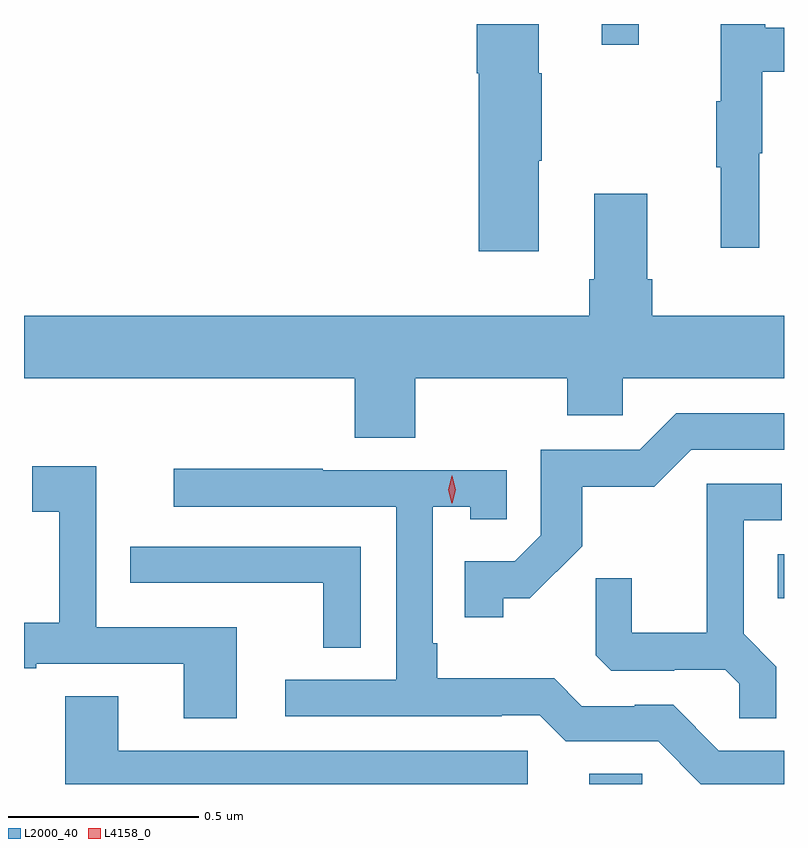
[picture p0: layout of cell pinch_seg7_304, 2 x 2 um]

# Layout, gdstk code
import gdstk
lib = gdstk.Library(unit=1e-6, precision=1e-09)
def R(c, l, rs):  # rectangles x0, y0, x1, y1
    for r in rs: c.add(gdstk.rectangle(r[:2], r[2:], *l))
def P(c, l, *ps):  # polygons
    for p in ps: c.add(gdstk.Polygon(p, *l))
L2000_40 = (2000, 40)
L4158_0 = (4158, 0)

pinch_seg7_304 = lib.new_cell('pinch_seg7_304')
R(pinch_seg7_304, L2000_40, [(568.793,1066.148,568.932,1066.175), (569.288,1066.637,569.305,1066.753), (568.826,1068.093,568.923,1068.148)])
P(pinch_seg7_304, L2000_40, [(568.66,1067.788),(568.668,1067.788),(568.668,1068.018),(568.66,1068.018),(568.66,1068.148),(568.496,1068.148),(568.496,1068.018),(568.502,1068.018),(568.502,1067.55),(568.66,1067.55)],
  [(569.24,1067.808),(569.248,1067.808),(569.248,1068.022),(569.305,1068.022),(569.305,1068.138),(569.255,1068.138),(569.255,1068.148),(569.138,1068.148),(569.138,1067.945),(569.127,1067.945),(569.127,1067.771),(569.138,1067.771),(569.138,1067.559),(569.24,1067.559)],
  [(568.335,1067.216),(568.735,1067.216),(568.735,1067.118),(568.881,1067.118),(568.881,1067.216),(569.305,1067.216),(569.305,1067.38),(568.958,1067.38),(568.958,1067.476),(568.945,1067.476),(568.945,1067.701),(568.805,1067.701),(568.805,1067.476),(568.793,1067.476),(568.793,1067.38),(567.305,1067.38),(567.305,1067.216),(568.175,1067.216),(568.175,1067.059),(568.335,1067.059)],
  [(568.566,1066.637),(568.636,1066.637),(568.774,1066.774),(568.774,1066.93),(568.963,1066.93),(569.061,1067.028),(569.305,1067.028),(569.305,1067.124),(569.022,1067.124),(568.926,1067.028),(568.665,1067.028),(568.665,1066.803),(568.596,1066.734),(568.465,1066.734),(568.465,1066.587),(568.566,1066.587)],
  [(567.865,1066.56),(567.495,1066.56),(567.495,1066.984),(567.327,1066.984),(567.327,1066.864),(567.398,1066.864),(567.398,1066.573),(567.305,1066.573),(567.305,1066.452),(567.337,1066.452),(567.337,1066.464),(567.725,1066.464),(567.725,1066.321),(567.865,1066.321)],
  [(569.305,1066.236),(569.133,1066.236),(569.013,1066.356),(568.912,1066.356),(568.912,1066.353),(568.773,1066.353),(568.7,1066.426),(568.393,1066.426),(568.393,1066.519),(568.38,1066.519),(568.38,1066.877),(568.479,1066.877),(568.479,1066.845),(568.575,1066.845),(568.575,1066.974),(568.091,1066.974),(568.091,1066.977),(567.699,1066.977),(567.699,1066.878),(568.284,1066.878),(568.284,1066.422),(567.993,1066.422),(567.993,1066.326),(568.562,1066.326),(568.562,1066.329),(568.662,1066.329),(568.731,1066.26),(568.974,1066.26),(569.086,1066.148),(569.305,1066.148)],
  [(569.285,1066.457),(569.199,1066.543),(569.199,1066.842),(569.299,1066.842),(569.299,1066.938),(569.102,1066.938),(569.102,1066.546),(568.904,1066.546),(568.904,1066.689),(568.81,1066.689),(568.81,1066.487),(568.851,1066.446),(569.016,1066.446),(569.016,1066.449),(569.15,1066.449),(569.187,1066.412),(569.187,1066.321),(569.285,1066.321)],
  [(568.191,1066.773),(567.585,1066.773),(567.585,1066.678),(567.697,1066.678),(567.697,1066.677),(568.093,1066.677),(568.093,1066.507),(568.191,1066.507)],
  [(568.63,1066.236),(567.553,1066.236),(567.553,1066.379),(567.413,1066.379),(567.413,1066.148),(568.63,1066.148)])
P(pinch_seg7_304, L4158_0, [(568.431,1066.887),(568.431,1066.887),(568.421,1066.923),(568.431,1066.959),(568.431,1066.959),(568.432,1066.959),(568.441,1066.923),(568.432,1066.887)])

lib.write_gds('pinch_seg7_304.gds')
